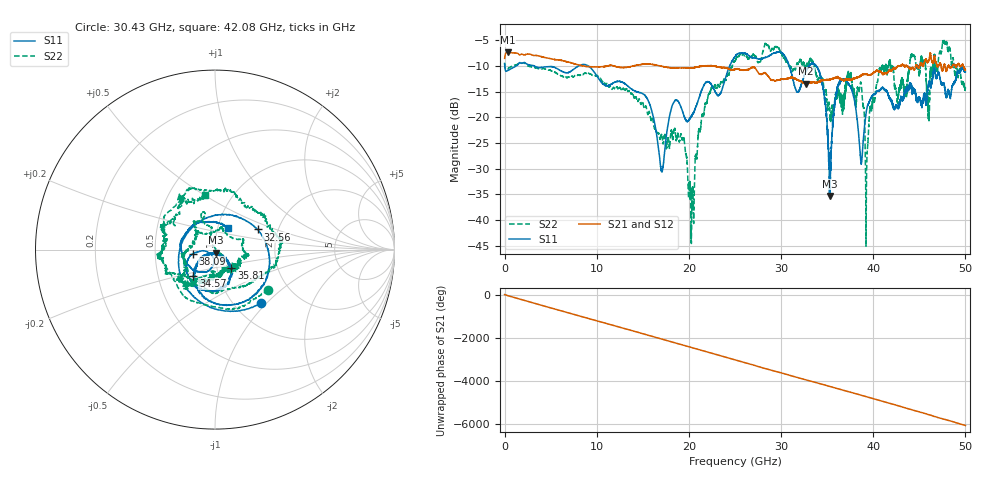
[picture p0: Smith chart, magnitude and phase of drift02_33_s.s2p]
!Created with skrf (http://scikit-rf.org).
# Hz S RI R 50.0
!freq ReS11 ImS11 ReS21 ImS21 ReS12 ImS12 ReS22 ImS22
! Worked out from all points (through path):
!   10001 points, 300 kHz to 50 GHz, reference 50 ohm
!   highest |S21| = -7.32 dB at 325.3 MHz (marker M1); lowest = -13.4 dB at 32.73 GHz (marker M2)
!   group delay of S21, straight-line fit = 335 ps
!   lowest |S11| = -35.3 dB at 35.31 GHz (marker M3), VSWR 1.03, Z = 50.4 - j1.69 ohm
!   |S11| at or under -10 dB: 3.236 GHz to 8.003 GHz (4.767 GHz wide, 84.8 % of centre); 9.099 GHz to 24.41 GHz (15.32 GHz wide, 91.4 % of centre); 33.83 GHz to end of sweep (the widest 3 of 7)
!   |S22| runs from -45.1 to -5.0 dB; largest |S21 - S12| = 0.014
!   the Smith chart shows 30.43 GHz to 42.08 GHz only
!   S11 on the Smith chart (normalised r, x): 30.43 GHz: 1.32, -0.93; 32.56 GHz: 1.57, +0.38; 34.57 GHz: 0.76, -0.23; 35.81 GHz: 1.17, -0.25; 38.09 GHz: 0.78, -0.04; 42.08 GHz: 1.12, +0.27
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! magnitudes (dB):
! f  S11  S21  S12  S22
! 300 kHz  -9.5  -8.5  -8.4  -9.5
! 325.3 MHz  -10.9  -7.3  -7.3  -10.6
! 8.335 GHz  -9.7  -9.9  -9.9  -11.6
! 16.67 GHz  -25.7  -9.9  -9.9  -23.0
! 19.31 GHz  -18.8  -10.4  -10.3  -24.4
! 20.35 GHz  -19.5  -10.4  -10.4  -34.5
! 21.93 GHz  -13.1  -9.9  -9.9  -17.3
! 25 GHz  -8.1  -10.6  -10.6  -9.0
! 30.43 GHz  -8.1  -12.5  -12.4  -8.6
! 32.56 GHz  -11.6  -13.2  -13.3  -9.8
! 32.73 GHz  -10.9  -13.4  -13.5  -10.1
! 33.34 GHz  -9.5  -13.1  -13.2  -9.0
! 34.57 GHz  -14.4  -12.8  -12.7  -13.1
! 35.31 GHz  -35.3  -12.5  -12.5  -19.8
! 35.81 GHz  -17.2  -12.3  -12.3  -16.7
! 38.09 GHz  -18.0  -12.3  -12.3  -17.6
! 38.69 GHz  -29.1  -11.8  -11.8  -13.4
! 39.31 GHz  -18.2  -11.6  -11.6  -28.1
! 41.67 GHz  -15.9  -11.0  -11.1  -9.7
! 42.08 GHz  -17.1  -10.7  -10.7  -10.2
! 47.77 GHz  -14.3  -9.8  -9.8  -5.6
! 50 GHz  -11.1  -10.8  -10.8  -14.3
